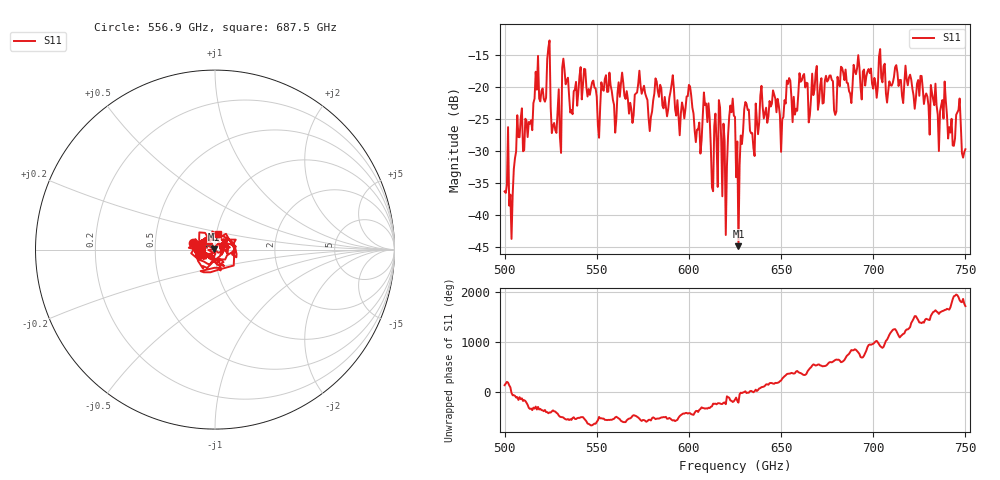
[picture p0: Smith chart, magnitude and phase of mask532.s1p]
!Created with skrf (http://scikit-rf.org).
# GHz S MA R 50.0
!freq magS11 angS11
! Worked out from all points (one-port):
!   401 points, 500 GHz to 750 GHz, reference 50 ohm
!   lowest |S11| = -44.8 dB at 626.9 GHz (marker M1), VSWR 1.01, Z = 49.5 + j0.293 ohm
!   |S11| at or under -10 dB: start of sweep to end of sweep
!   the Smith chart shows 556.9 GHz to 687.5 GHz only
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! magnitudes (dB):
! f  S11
! 500 GHz  -36.3
! 503.8 GHz  -43.7
! 508.1 GHz  -27.8
! 513.8 GHz  -25.7
! 516.9 GHz  -17.6
! 523.8 GHz  -13.8
! 526.9 GHz  -25.6
! 531.2 GHz  -17.0
! 562.5 GHz  -21.5
! 593.8 GHz  -22.0
! 600 GHz  -19.7
! 605.6 GHz  -25.5
! 609.4 GHz  -22.6
! 612.5 GHz  -35.7
! 617.5 GHz  -28.1
! 619.4 GHz  -28.4
! 622.5 GHz  -22.9
! 625 GHz  -24.7
! 626.9 GHz  -44.8
! 631.2 GHz  -22.6
! 634.4 GHz  -27.2
! 640 GHz  -23.0
! 656.2 GHz  -25.5
! 687.5 GHz  -21.0
! 718.8 GHz  -19.7
! 743.1 GHz  -29.1
! 746.2 GHz  -23.6
! 750 GHz  -29.7
